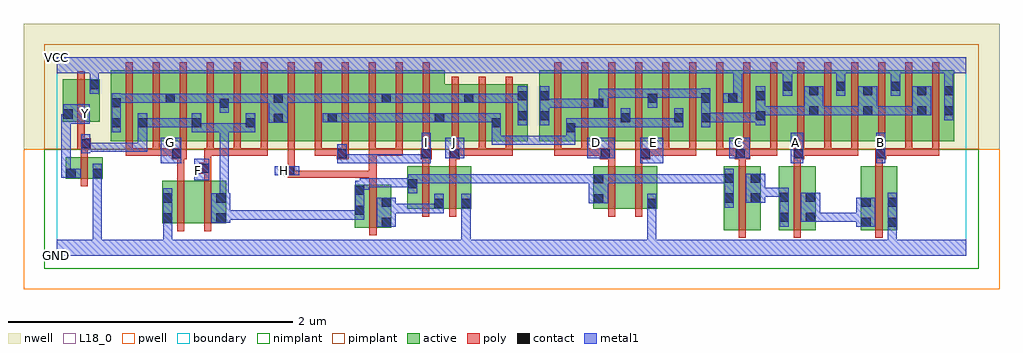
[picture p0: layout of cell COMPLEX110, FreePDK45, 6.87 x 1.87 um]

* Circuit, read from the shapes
.subckt COMPLEX110 A B C D E F G GND H I J VCC Y
M1 GND n1 Y VSUBS nfet w=0.15u l=0.05u
M2 n2 G GND VSUBS nfet w=0.3u l=0.05u
M3 n1 F n2 VSUBS nfet w=0.3u l=0.05u
M4 n3 H n1 VSUBS nfet w=0.3u l=0.05u
M5 n3 I n1 VSUBS nfet w=0.3u l=0.05u
M6 GND J n3 VSUBS nfet w=0.3u l=0.05u
M7 n4 D n1 VSUBS nfet w=0.3u l=0.05u
M8 GND E n4 VSUBS nfet w=0.3u l=0.05u
M9 n5 C n1 VSUBS nfet w=0.45u l=0.05u
M10 n6 A n5 VSUBS nfet w=0.45u l=0.05u
M11 GND B n6 VSUBS nfet w=0.45u l=0.05u
M12 VCC n1 Y n7 pfet w=0.3u l=0.05u
M13 n1 G n8 n7 pfet w=0.5u l=0.05u m=3
M14 n8 F n1 n7 pfet w=0.5u l=0.05u m=3
M15 n9 H n8 n7 pfet w=0.5u l=0.05u
M16 n10 I n9 n7 pfet w=0.5u l=0.05u
M17 n11 I n10 n7 pfet w=0.5u l=0.05u
M18 n8 H n11 n7 pfet w=0.5u l=0.05u
M19 n12 H n8 n7 pfet w=0.5u l=0.05u
M20 n10 I n12 n7 pfet w=0.5u l=0.05u
M21 n8 J n10 n7 pfet w=0.4u l=0.05u m=3
M22 n10 D n13 n7 pfet w=0.5u l=0.05u m=3
M23 n13 E n10 n7 pfet w=0.5u l=0.05u m=3
M24 VCC C n13 n7 pfet w=0.5u l=0.05u m=3
M25 n13 A VCC n7 pfet w=0.5u l=0.05u m=3
M26 VCC B n13 n7 pfet w=0.5u l=0.05u m=3
.ends

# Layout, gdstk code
import gdstk
lib = gdstk.Library(unit=1e-6, precision=1e-09)
def R(c, l, rs):  # rectangles x0, y0, x1, y1
    for r in rs: c.add(gdstk.rectangle(r[:2], r[2:], *l))
def A(c, l, x, y, w, h, nx, ny, dx, dy):  # array of equal rectangles
    R(c, l, [(x+i*dx, y+j*dy, x+i*dx+w, y+j*dy+h) for i in range(nx) for j in range(ny)])
active = (1, 0)
pwell = (2, 0)
nwell = (3, 0)
nimplant = (4, 0)
pimplant = (5, 0)
poly = (9, 0)
contact = (10, 0)
metal1 = (11, 0)
L18_0 = (18, 0)
boundary = (235, 0)

complex110 = lib.new_cell('COMPLEX110')
A(complex110, active, 0.38, 0.807, 0.075, 0.393, 4, 1, 0.38, 0)
A(complex110, active, 0.38, 0.807, 0.26, 0.5, 3, 1, 0.38, 0)
A(complex110, active, 0.565, 0.807, 0.27, 0.5, 3, 1, 0.38, 0)
A(complex110, active, 0.565, 0.807, 0.075, 0.263, 3, 1, 0.38, 0)
A(complex110, active, 1.52, 0.807, 0.225, 0.5, 3, 1, 0.38, 0)
A(complex110, active, 3.395, 0.807, 0.075, 0.393, 3, 1, 0.38, 0)
A(complex110, active, 5.29, 0.807, 0.075, 0.393, 3, 1, 0.38, 0)
R(complex110, active, [(4.695,0.182,4.955,0.632), (5.082,0.182,5.342,0.632), (5.657,0.182,5.917,0.632), (5.842,0.182,5.917,0.632), (2.095,0.2,2.355,0.5), (2.28,0.2,2.355,0.5), (4.695,0.2,4.77,0.632), (4.88,0.2,4.955,0.632), (5.082,0.2,5.157,0.632), (5.267,0.2,5.342,0.632), (5.657,0.2,5.732,0.632), (2.095,0.215,2.17,0.5), (0.742,0.23,0.967,0.53), (0.742,0.23,0.817,0.53), (0.967,0.23,1.192,0.53), (1.117,0.23,1.192,0.53), (2.467,0.332,2.542,0.632), (2.467,0.332,2.727,0.632), (2.652,0.332,2.917,0.632), (2.652,0.332,2.727,0.475), (2.842,0.332,2.917,0.477), (3.775,0.332,4,0.632), (3.775,0.332,3.85,0.632), (4,0.332,4.225,0.632), (4.15,0.332,4.225,0.497), (0.062,0.545,0.137,0.695), (0.062,0.545,0.322,0.695), (0.247,0.545,0.322,0.695), (1.745,0.807,1.975,1.307), (1.9,0.807,1.975,1.07), (2.125,0.807,2.355,1.307), (2.28,0.807,2.355,1.2), (2.505,0.807,2.73,1.307), (2.655,0.807,2.937,1.207), (2.862,0.807,3.13,1.207), (3.055,0.807,3.13,1.07), (3.055,0.807,3.315,1.207), (3.24,0.807,3.315,1.2), (3.395,0.807,3.655,1.307), (3.58,0.807,3.85,1.307), (3.58,0.807,3.655,1.07), (3.775,0.807,4.04,1.307), (3.965,0.807,4.23,1.307), (3.965,0.807,4.04,1.07), (4.155,0.807,4.415,1.307), (4.34,0.807,4.605,1.307), (4.34,0.807,4.415,1.07), (4.53,0.807,4.795,1.307), (4.53,0.807,4.605,1.2), (4.72,0.807,4.795,1.307), (4.72,0.807,4.99,1.307), (4.915,0.807,5.18,1.307), (4.915,0.807,4.99,1.2), (5.105,0.807,5.18,1.305), (5.105,0.807,5.365,1.307), (5.29,0.807,5.555,1.307), (5.48,0.807,5.745,1.307), (5.48,0.807,5.555,1.307), (5.67,0.807,5.94,1.307), (5.865,0.807,6.125,1.307), (5.865,0.807,5.94,1.307), (6.05,0.807,6.315,1.307), (6.24,0.807,6.315,1.305), (2.655,0.817,2.73,1.07), (2.862,0.85,2.937,1.2), (0.04,0.945,0.3,1.245), (0.04,0.945,0.115,1.105), (0.225,0.945,0.3,1.245)])
R(complex110, pwell, [(-0.235,-0.235,6.635,0.75)])
R(complex110, nwell, [(-0.235,0.75,6.635,1.635)])
R(complex110, nimplant, [(-0.09,-0.09,6.49,0.75)])
R(complex110, pimplant, [(-0.09,0.75,6.49,1.49)])
A(complex110, poly, 0.485, 0.707, 0.05, 0.095, 6, 1, 0.19, 0)
A(complex110, poly, 1.055, 0.707, 0.05, 0.05, 3, 1, 0.19, 0)
A(complex110, poly, 1.815, 0.707, 0.05, 0.095, 5, 1, 0.19, 0)
A(complex110, poly, 2.78, 0.707, 0.05, 0.095, 3, 1, 0.19, 0)
A(complex110, poly, 2.78, 0.707, 0.05, 0.05, 3, 1, 0.19, 0)
A(complex110, poly, 3.5, 0.707, 0.05, 0.095, 15, 1, 0.19, 0)
A(complex110, poly, 5.21, 0.707, 0.05, 0.05, 3, 1, 0.19, 0)
A(complex110, poly, 0.485, 0.752, 0.05, 0.61, 12, 1, 0.19, 0)
A(complex110, poly, 2.78, 0.752, 0.05, 0.51, 3, 1, 0.19, 0)
A(complex110, poly, 3.5, 0.752, 0.05, 0.61, 15, 1, 0.19, 0)
R(complex110, poly, [(4.8,0.127,4.85,0.687), (5.187,0.127,5.237,0.687), (5.762,0.127,5.812,0.687), (2.2,0.145,2.25,0.555), (0.847,0.175,0.897,0.585), (1.037,0.175,1.087,0.585), (2.572,0.277,2.622,0.687), (2.762,0.277,2.812,0.687), (3.88,0.277,3.93,0.687), (4.07,0.277,4.12,0.687), (0.167,0.49,0.217,0.75), (2.2,0.505,2.25,0.6), (0.847,0.535,0.897,0.732), (1.037,0.535,1.087,0.63), (1.625,0.55,1.675,0.6), (1.625,0.55,1.675,0.6), (1.625,0.55,1.675,0.6), (1.625,0.55,1.885,0.6), (1.625,0.55,1.675,0.612), (1.835,0.55,1.885,0.6), (1.835,0.55,1.885,0.6), (1.835,0.55,1.885,0.6), (1.835,0.55,2.112,0.6), (2.062,0.55,2.112,0.6), (2.062,0.55,2.112,0.6), (2.062,0.55,2.112,0.6), (2.062,0.55,2.245,0.6), (2.195,0.55,2.25,0.757), (1.6,0.562,1.675,0.637), (1.002,0.58,1.087,0.655), (1.625,0.587,1.675,0.802), (1.037,0.605,1.087,0.757), (2.572,0.637,2.622,0.732), (2.762,0.637,2.812,0.732), (3.88,0.637,3.93,0.732), (4.07,0.637,4.12,0.732), (4.8,0.637,4.85,0.732), (5.187,0.637,5.237,0.732), (5.762,0.637,5.812,0.732), (0.807,0.682,0.915,0.757), (0.847,0.682,0.897,0.732), (0.847,0.682,0.897,0.732), (1.97,0.682,2.055,0.757), (2.562,0.682,2.637,0.757), (2.762,0.682,2.837,0.757), (3.822,0.682,3.93,0.757), (3.88,0.682,3.93,0.732), (3.88,0.682,3.93,0.732), (4.07,0.682,4.12,0.732), (4.07,0.682,4.12,0.732), (4.07,0.682,4.177,0.757), (4.772,0.682,4.88,0.757), (4.8,0.682,4.85,0.732), (4.8,0.682,4.85,0.732), (5.185,0.682,5.26,0.757), (5.762,0.682,5.837,0.757), (0.167,0.7,0.217,0.802), (0.485,0.707,0.535,0.757), (0.485,0.707,0.535,0.757), (0.485,0.707,0.535,0.757), (0.485,0.707,0.725,0.757), (0.675,0.707,0.725,0.757), (0.675,0.707,0.725,0.757), (0.675,0.707,0.725,0.757), (0.675,0.707,0.857,0.757), (1.037,0.707,1.105,0.757), (1.055,0.707,1.105,0.757), (1.055,0.707,1.295,0.757), (1.245,0.707,1.485,0.757), (1.435,0.707,1.485,0.757), (1.435,0.707,1.485,0.757), (1.815,0.707,1.865,0.757), (1.815,0.707,1.865,0.757), (1.815,0.707,1.865,0.757), (1.815,0.707,2.02,0.757), (2.195,0.707,2.245,0.757), (2.195,0.707,2.245,0.757), (2.2,0.707,2.435,0.757), (2.385,0.707,2.435,0.757), (2.385,0.707,2.435,0.757), (2.385,0.707,2.435,0.757), (2.385,0.707,2.435,0.757), (2.385,0.707,2.435,0.757), (2.575,0.707,2.625,0.757), (2.575,0.707,2.625,0.757), (2.78,0.707,2.83,0.757), (2.78,0.707,2.83,0.757), (2.78,0.707,2.83,0.757), (2.78,0.707,3.02,0.757), (2.97,0.707,3.21,0.757), (3.16,0.707,3.21,0.757), (3.16,0.707,3.21,0.757), (3.5,0.707,3.55,0.757), (3.5,0.707,3.55,0.757), (3.5,0.707,3.55,0.757), (3.5,0.707,3.74,0.757), (3.69,0.707,3.74,0.757), (3.69,0.707,3.74,0.757), (3.69,0.707,3.74,0.757), (3.69,0.707,3.872,0.757), (4.127,0.707,4.177,0.757), (4.127,0.707,4.177,0.757), (4.127,0.707,4.31,0.757), (4.26,0.707,4.31,0.757), (4.26,0.707,4.5,0.757), (4.45,0.707,4.5,0.757), (4.45,0.707,4.5,0.757), (4.45,0.707,4.5,0.757), (4.64,0.707,4.69,0.757), (4.64,0.707,4.69,0.757), (4.64,0.707,4.69,0.757), (4.64,0.707,4.822,0.757), (4.83,0.707,5.07,0.757), (5.02,0.707,5.07,0.757), (5.02,0.707,5.07,0.757), (5.02,0.707,5.07,0.757), (5.21,0.707,5.26,0.757), (5.21,0.707,5.26,0.757), (5.21,0.707,5.26,0.757), (5.21,0.707,5.45,0.757), (5.4,0.707,5.64,0.757), (5.59,0.707,5.64,0.757), (5.59,0.707,5.64,0.757), (5.78,0.707,5.83,0.757), (5.78,0.707,5.83,0.757), (5.78,0.707,6.02,0.757), (5.97,0.707,6.02,0.757), (5.97,0.707,6.02,0.757), (5.97,0.707,6.02,0.757), (5.97,0.707,6.21,0.757), (6.16,0.707,6.21,0.757), (6.16,0.707,6.21,0.757), (6.16,0.707,6.21,0.757), (0.145,0.752,0.24,0.827), (0.167,0.752,0.217,0.802), (0.167,0.752,0.217,0.802), (0.145,0.777,0.195,0.94), (0.145,0.89,0.195,1.3)])
A(complex110, contact, 0.57, 0.905, 0.065, 0.065, 3, 1, 0.38, 0)
A(complex110, contact, 5.295, 0.99, 0.065, 0.065, 3, 2, 0.38, 0.14)
A(complex110, contact, 0.765, 1.077, 0.065, 0.065, 3, 1, 0.76, 0)
R(complex110, contact, [(2.285,0.205,2.35,0.27), (5.662,0.205,5.727,0.27), (5.847,0.205,5.912,0.27), (0.747,0.235,0.812,0.3), (1.122,0.235,1.187,0.3), (5.087,0.24,5.152,0.305), (5.272,0.24,5.337,0.305), (2.1,0.29,2.165,0.355), (2.657,0.337,2.722,0.402), (2.847,0.337,2.912,0.402), (4.155,0.337,4.22,0.402), (2.285,0.345,2.35,0.41), (5.662,0.345,5.727,0.41), (5.847,0.345,5.912,0.41), (3.78,0.37,3.845,0.435), (0.747,0.375,0.812,0.44), (1.122,0.375,1.187,0.44), (4.7,0.375,4.765,0.44), (4.885,0.375,4.95,0.44), (5.087,0.38,5.152,0.445), (5.272,0.38,5.337,0.445), (2.1,0.43,2.165,0.495), (2.472,0.475,2.537,0.54), (3.78,0.51,3.845,0.575), (4.7,0.515,4.765,0.58), (4.885,0.515,4.95,0.58), (0.067,0.55,0.132,0.615), (0.252,0.55,0.317,0.615), (1.605,0.567,1.67,0.632), (1.007,0.585,1.072,0.65), (0.812,0.687,0.877,0.752), (1.975,0.687,2.04,0.752), (2.567,0.687,2.632,0.752), (2.767,0.687,2.832,0.752), (3.827,0.687,3.892,0.752), (4.107,0.687,4.172,0.752), (4.777,0.687,4.842,0.752), (5.19,0.687,5.255,0.752), (5.767,0.687,5.832,0.752), (0.17,0.757,0.235,0.822), (3.585,0.87,3.65,0.935), (0.385,0.905,0.45,0.97), (3.06,0.905,3.125,0.97), (1.525,0.937,1.59,1.002), (1.905,0.94,1.97,1.005), (2.66,0.94,2.725,1.005), (3.97,0.94,4.035,1.005), (4.345,0.94,4.41,1.005), (4.535,0.94,4.6,1.005), (3.245,0.955,3.31,1.02), (3.4,0.955,3.465,1.02), (4.92,0.955,4.985,1.02), (0.045,0.967,0.11,1.032), (6.245,0.99,6.31,1.055), (1.145,1.042,1.21,1.107), (3.78,1.042,3.845,1.107), (0.385,1.045,0.45,1.11), (2.867,1.077,2.932,1.142), (4.16,1.077,4.225,1.142), (4.535,1.08,4.6,1.145), (4.725,1.08,4.79,1.145), (3.245,1.095,3.31,1.16), (3.4,1.095,3.465,1.16), (4.92,1.095,4.985,1.16), (6.245,1.13,6.31,1.195), (5.11,1.162,5.175,1.227), (5.485,1.162,5.55,1.227), (5.87,1.162,5.935,1.227), (0.23,1.175,0.295,1.24)])
A(complex110, metal1, 0.57, 0.87, 0.065, 0.135, 3, 1, 0.38, 0)
A(complex110, metal1, 5.26, 0.99, 0.135, 0.205, 3, 1, 0.38, 0)
A(complex110, metal1, 0.592, 1.077, 0.203, 0.065, 3, 1, 0.76, 0)
R(complex110, metal1, [(0,0,6.4,0.115), (0.252,0.05,0.317,0.115), (0.252,0.05,0.317,0.115), (0.252,0.05,0.317,0.115), (0.252,0.05,0.317,0.115), (0.252,0.05,0.317,0.58), (0.747,0.05,0.812,0.115), (0.747,0.05,0.812,0.115), (0.747,0.05,0.812,0.265), (2.847,0.05,2.912,0.115), (2.847,0.05,2.912,0.115), (2.847,0.05,2.912,0.367), (4.155,0.05,4.22,0.115), (4.155,0.05,4.22,0.115), (4.155,0.05,4.22,0.367), (5.847,0.05,5.912,0.235), (5.847,0.17,5.912,0.445), (0.747,0.2,0.812,0.475), (2.25,0.205,2.385,0.41), (5.087,0.205,5.152,0.48), (5.627,0.205,5.762,0.41), (1.087,0.235,1.222,0.44), (5.237,0.24,5.372,0.445), (5.307,0.24,5.372,0.305), (5.307,0.24,5.372,0.305), (5.307,0.24,5.532,0.305), (5.467,0.24,5.532,0.305), (5.467,0.24,5.532,0.305), (5.467,0.24,5.532,0.305), (5.467,0.24,5.692,0.305), (1.157,0.255,1.222,0.32), (1.157,0.255,1.222,0.32), (1.157,0.255,1.36,0.32), (1.295,0.255,1.36,0.32), (1.295,0.255,1.36,0.32), (1.295,0.255,1.36,0.32), (1.295,0.255,1.625,0.32), (1.56,0.255,1.625,0.32), (1.56,0.255,1.625,0.32), (1.56,0.255,1.625,0.32), (1.56,0.255,1.762,0.32), (1.697,0.255,1.762,0.32), (1.697,0.255,1.762,0.32), (1.697,0.255,1.762,0.32), (1.697,0.255,1.9,0.32), (1.835,0.255,1.9,0.32), (1.835,0.255,1.9,0.32), (1.835,0.255,1.9,0.32), (1.835,0.255,2.165,0.32), (2.1,0.255,2.165,0.53), (2.32,0.302,2.385,0.367), (2.32,0.302,2.385,0.367), (2.32,0.302,2.552,0.367), (2.487,0.302,2.552,0.367), (2.487,0.302,2.552,0.367), (2.487,0.302,2.552,0.367), (2.487,0.302,2.722,0.367), (2.657,0.302,2.722,0.437), (2.847,0.302,2.912,0.437), (4.155,0.302,4.22,0.437), (4.7,0.34,4.765,0.615), (3.745,0.37,3.88,0.575), (1.145,0.375,1.21,0.44), (1.145,0.375,1.21,0.44), (1.145,0.375,1.21,0.935), (4.85,0.375,4.985,0.58), (4.92,0.415,4.985,0.48), (4.92,0.415,4.985,0.48), (4.92,0.415,5.152,0.48), (2.472,0.44,2.537,0.575), (2.1,0.465,2.197,0.53), (2.132,0.465,2.197,0.547), (2.132,0.482,2.385,0.547), (2.32,0.482,2.385,0.547), (2.32,0.482,2.385,0.547), (2.32,0.482,2.385,0.547), (2.32,0.482,2.537,0.547), (2.472,0.51,2.537,0.575), (2.472,0.51,2.537,0.575), (2.472,0.51,2.76,0.575), (2.695,0.51,2.76,0.575), (2.695,0.51,2.76,0.575), (2.695,0.51,2.76,0.575), (2.695,0.51,2.937,0.575), (2.872,0.51,2.937,0.575), (2.872,0.51,2.937,0.575), (2.872,0.51,2.937,0.575), (2.872,0.51,3.172,0.575), (3.107,0.51,3.172,0.575), (3.107,0.51,3.327,0.575), (3.262,0.51,3.327,0.575), (3.262,0.51,3.327,0.575), (3.262,0.51,3.327,0.575), (3.262,0.51,3.512,0.575), (3.447,0.51,3.512,0.575), (3.447,0.51,3.512,0.575), (3.447,0.51,3.512,0.575), (3.447,0.51,3.65,0.575), (3.585,0.51,3.65,0.575), (3.585,0.51,3.65,0.575), (3.585,0.51,3.65,0.575), (3.585,0.51,3.81,0.575), (3.815,0.51,3.88,0.575), (3.815,0.51,3.88,0.575), (3.815,0.51,4.035,0.575), (3.97,0.51,4.035,0.575), (3.97,0.51,4.035,0.575), (3.97,0.51,4.035,0.575), (3.97,0.51,4.272,0.575), (4.207,0.51,4.272,0.575), (4.207,0.51,4.272,0.575), (4.207,0.51,4.272,0.575), (4.207,0.51,4.462,0.575), (4.397,0.51,4.462,0.575), (4.397,0.51,4.462,0.575), (4.397,0.51,4.462,0.575), (4.397,0.51,4.6,0.575), (4.535,0.51,4.6,0.575), (4.535,0.51,4.6,0.575), (4.535,0.51,4.6,0.575), (4.535,0.51,4.765,0.575), (0.252,0.515,0.317,0.65), (0.967,0.532,1.072,0.685), (0.032,0.55,0.097,0.615), (0.032,0.55,0.097,0.615), (0.032,0.55,0.097,0.615), (0.032,0.55,0.097,0.615), (0.032,0.55,0.167,0.615), (0.032,0.55,0.097,0.997), (1.532,0.567,1.705,0.632), (0.732,0.652,0.877,0.832), (1.975,0.652,2.04,0.787), (1.975,0.652,2.177,0.717), (2.112,0.652,2.177,0.717), (2.112,0.652,2.177,0.717), (2.112,0.652,2.177,0.717), (2.112,0.652,2.177,0.717), (2.112,0.652,2.177,0.717), (2.112,0.652,2.335,0.717), (2.27,0.652,2.335,0.717), (2.27,0.652,2.335,0.717), (2.27,0.652,2.335,0.717), (2.27,0.652,2.552,0.717), (2.487,0.652,2.552,0.717), (2.487,0.652,2.632,0.717), (2.567,0.652,2.632,0.867), (4.107,0.652,4.267,0.832), (5.167,0.652,5.255,0.867), (5.767,0.652,5.832,0.867), (2.732,0.687,2.867,0.832), (3.732,0.687,3.927,0.832), (4.732,0.687,4.877,0.832), (0.17,0.722,0.235,0.857), (0.17,0.732,0.235,0.797), (0.17,0.732,0.235,0.797), (0.17,0.732,0.497,0.797), (0.432,0.732,0.497,0.797), (0.432,0.732,0.497,0.797), (0.432,0.732,0.497,0.797), (0.432,0.732,0.635,0.797), (0.57,0.732,0.635,0.797), (0.57,0.732,0.635,0.935), (3.06,0.782,3.31,0.847), (3.06,0.782,3.125,0.932), (3.245,0.782,3.31,0.847), (3.245,0.782,3.512,0.847), (3.447,0.782,3.512,0.847), (3.447,0.782,3.512,0.847), (3.447,0.782,3.512,0.847), (3.447,0.782,3.65,0.847), (3.585,0.782,3.65,0.97), (3.06,0.867,3.125,0.932), (3.06,0.867,3.125,1.005), (0.385,0.87,0.45,1.145), (0.95,0.87,1.015,0.935), (0.95,0.87,1.015,0.935), (0.95,0.87,1.21,0.935), (1.145,0.87,1.21,0.935), (1.145,0.87,1.21,0.935), (1.145,0.87,1.21,0.935), (1.145,0.87,1.21,0.935), (1.145,0.87,1.21,0.935), (1.145,0.87,1.395,0.935), (0.57,0.905,0.635,0.97), (0.57,0.905,0.635,0.97), (0.57,0.905,0.86,0.97), (0.795,0.905,0.86,0.97), (0.795,0.905,0.86,0.97), (0.795,0.905,0.86,0.97), (0.795,0.905,1.015,0.97), (3.585,0.905,3.65,0.97), (3.585,0.905,3.65,0.97), (3.585,0.905,3.897,0.97), (3.832,0.905,3.897,0.97), (3.832,0.905,3.897,0.97), (3.832,0.905,3.897,0.97), (3.832,0.905,4.035,0.97), (3.97,0.905,4.035,0.97), (3.97,0.905,4.035,0.97), (3.97,0.905,4.035,1.04), (3.97,0.905,4.272,0.97), (4.207,0.905,4.272,0.97), (4.207,0.905,4.272,0.97), (4.207,0.905,4.272,0.97), (4.207,0.905,4.41,0.97), (4.345,0.905,4.41,1.04), (4.535,0.905,4.6,1.18), (3.245,0.92,3.31,1.195), (3.4,0.92,3.465,1.195), (4.92,0.92,4.985,1.195), (0.032,0.932,0.11,0.997), (0.045,0.932,0.11,0.997), (0.045,0.932,0.232,1.067), (1.49,0.937,1.625,1.142), (1.87,0.94,2.005,1.005), (1.94,0.94,2.005,1.005), (1.94,0.94,2.005,1.005), (1.94,0.94,2.177,1.005), (2.112,0.94,2.177,1.005), (2.112,0.94,2.177,1.005), (2.112,0.94,2.177,1.005), (2.112,0.94,2.385,1.005), (2.32,0.94,2.385,1.005), (2.32,0.94,2.385,1.005), (2.32,0.94,2.385,1.005), (2.32,0.94,2.522,1.005), (2.457,0.94,2.522,1.005), (2.457,0.94,2.522,1.005), (2.457,0.94,2.522,1.005), (2.457,0.94,2.69,1.005), (2.625,0.94,2.76,1.005), (2.695,0.94,2.76,1.005), (2.695,0.94,2.76,1.005), (2.695,0.94,2.987,1.005), (2.922,0.94,2.987,1.005), (2.922,0.94,2.987,1.005), (2.922,0.94,2.987,1.005), (2.922,0.94,3.125,1.005), (4.535,0.942,4.6,1.007), (4.535,0.942,4.6,1.007), (4.535,0.942,4.777,1.007), (4.712,0.942,4.777,1.007), (4.712,0.942,4.777,1.007), (4.712,0.942,4.777,1.007), (4.712,0.942,4.985,1.007), (6.245,0.955,6.31,1.23), (4.92,0.99,4.985,1.055), (4.92,0.99,4.985,1.055), (4.92,0.99,5.122,1.055), (5.057,0.99,5.122,1.055), (5.057,0.99,5.122,1.055), (5.057,0.99,5.122,1.055), (5.057,0.99,5.325,1.055), (5.33,0.99,5.395,1.055), (5.33,0.99,5.395,1.055), (5.33,0.99,5.555,1.055), (5.49,0.99,5.555,1.055), (5.49,0.99,5.555,1.055), (5.49,0.99,5.555,1.055), (5.49,0.99,5.705,1.055), (5.71,0.99,5.912,1.055), (5.847,0.99,5.912,1.055), (5.847,0.99,5.912,1.055), (5.847,0.99,5.912,1.055), (5.847,0.99,6.085,1.055), (6.02,0.99,6.085,1.055), (6.02,0.99,6.085,1.055), (1.145,1.007,1.21,1.142), (3.4,1.042,3.465,1.107), (3.4,1.042,3.465,1.107), (3.4,1.042,3.65,1.107), (3.585,1.042,3.65,1.107), (3.585,1.042,3.65,1.107), (3.585,1.042,3.65,1.107), (3.585,1.042,3.81,1.107), (3.745,1.042,3.88,1.107), (3.815,1.042,3.88,1.107), (3.815,1.042,3.88,1.177), (4.16,1.042,4.225,1.177), (0.385,1.077,0.45,1.142), (0.385,1.077,0.45,1.142), (0.385,1.077,0.657,1.142), (0.592,1.077,0.657,1.142), (0.592,1.077,0.657,1.142), (0.592,1.077,0.657,1.142), (0.73,1.077,0.865,1.142), (0.8,1.077,0.865,1.142), (0.8,1.077,0.865,1.142), (0.8,1.077,1.015,1.142), (0.95,1.077,1.015,1.142), (0.95,1.077,1.015,1.142), (0.95,1.077,1.015,1.142), (0.95,1.077,1.21,1.142), (1.145,1.077,1.21,1.142), (1.145,1.077,1.21,1.142), (1.145,1.077,1.417,1.142), (1.352,1.077,1.417,1.142), (1.352,1.077,1.417,1.142), (1.352,1.077,1.417,1.142), (1.56,1.077,1.625,1.142), (1.56,1.077,1.625,1.142), (1.56,1.077,1.762,1.142), (1.697,1.077,1.762,1.142), (1.697,1.077,1.762,1.142), (1.697,1.077,1.762,1.142), (1.697,1.077,2.027,1.142), (1.962,1.077,2.027,1.142), (1.962,1.077,2.027,1.142), (1.962,1.077,2.027,1.142), (1.962,1.077,2.177,1.142), (2.112,1.077,2.177,1.142), (2.112,1.077,2.177,1.142), (2.112,1.077,2.177,1.142), (2.25,1.077,2.385,1.142), (2.32,1.077,2.385,1.142), (2.32,1.077,2.385,1.142), (2.32,1.077,2.552,1.142), (2.487,1.077,2.552,1.142), (2.487,1.077,2.552,1.142), (2.487,1.077,2.552,1.142), (2.487,1.077,2.76,1.142), (2.695,1.077,2.76,1.142), (2.695,1.077,2.76,1.142), (2.695,1.077,2.76,1.142), (2.695,1.077,2.897,1.142), (2.832,1.077,2.967,1.142), (2.902,1.077,2.967,1.142), (2.902,1.077,2.967,1.142), (2.902,1.077,3.172,1.142), (3.107,1.077,3.172,1.142), (3.107,1.077,3.31,1.142), (3.245,1.077,3.31,1.142), (3.245,1.077,3.31,1.142), (4.69,1.08,4.825,1.145), (4.76,1.08,4.825,1.35), (3.815,1.112,4.035,1.177), (3.97,1.112,4.035,1.177), (3.97,1.112,4.035,1.177), (3.97,1.112,4.035,1.177), (3.97,1.112,4.225,1.177), (4.16,1.112,4.225,1.177), (4.16,1.112,4.225,1.177), (4.16,1.112,4.462,1.177), (4.397,1.112,4.462,1.177), (4.397,1.112,4.462,1.177), (4.397,1.112,4.462,1.177), (4.397,1.112,4.6,1.177), (5.11,1.127,5.175,1.262), (5.485,1.127,5.55,1.262), (5.87,1.127,5.935,1.262), (0.23,1.14,0.295,1.275), (6.245,1.165,6.31,1.35), (5.11,1.197,5.175,1.35), (5.485,1.197,5.55,1.35), (5.87,1.197,5.935,1.35), (0.23,1.21,0.295,1.275), (0.23,1.21,0.295,1.275), (0.23,1.21,0.295,1.35), (0,1.285,6.4,1.4)])
R(complex110, L18_0, [(0,0,6.4,0.115), (0.252,0.05,0.317,0.115), (0.252,0.05,0.317,0.115), (0.252,0.05,0.317,0.115), (0.252,0.05,0.317,0.115), (0.252,0.05,0.317,0.58), (0.747,0.05,0.812,0.115), (0.747,0.05,0.812,0.115), (0.747,0.05,0.812,0.265), (2.847,0.05,2.912,0.115), (2.847,0.05,2.912,0.115), (2.847,0.05,2.912,0.367), (4.155,0.05,4.22,0.115), (4.155,0.05,4.22,0.115), (4.155,0.05,4.22,0.367), (5.847,0.05,5.912,0.235), (5.847,0.17,5.912,0.445), (0.747,0.2,0.812,0.475), (2.847,0.302,2.912,0.437), (4.155,0.302,4.22,0.437), (0.252,0.515,0.317,0.65), (0.967,0.532,1.072,0.685), (0.032,0.55,0.167,0.615), (0.032,0.55,0.097,0.615), (0.032,0.55,0.097,0.615), (0.032,0.55,0.097,0.615), (0.032,0.55,0.097,0.615), (0.032,0.55,0.097,0.997), (0.967,0.567,1.032,0.632), (1.532,0.567,1.705,0.632), (1.567,0.567,1.632,0.632), (0.732,0.652,0.877,0.832), (1.975,0.652,2.04,0.787), (1.975,0.652,2.177,0.717), (2.112,0.652,2.177,0.717), (2.112,0.652,2.177,0.717), (2.112,0.652,2.177,0.717), (2.112,0.652,2.177,0.717), (2.112,0.652,2.177,0.717), (2.112,0.652,2.335,0.717), (2.27,0.652,2.335,0.717), (2.27,0.652,2.335,0.717), (2.27,0.652,2.335,0.717), (2.27,0.652,2.552,0.717), (2.487,0.652,2.552,0.717), (2.487,0.652,2.632,0.717), (2.567,0.652,2.632,0.867), (4.107,0.652,4.267,0.832), (5.167,0.652,5.255,0.867), (5.767,0.652,5.832,0.867), (2.732,0.687,2.867,0.832), (3.732,0.687,3.927,0.832), (4.732,0.687,4.877,0.832), (0.767,0.767,0.832,0.832), (2.567,0.767,2.632,0.832), (2.767,0.767,2.832,0.832), (3.767,0.767,3.832,0.832), (4.167,0.767,4.232,0.832), (4.767,0.767,4.832,0.832), (5.167,0.767,5.232,0.832), (5.767,0.767,5.832,0.832), (0.032,0.932,0.11,0.997), (0.045,0.932,0.11,0.997), (0.045,0.932,0.232,1.067), (6.245,0.955,6.31,1.23), (0.167,0.967,0.232,1.032), (4.69,1.08,4.825,1.145), (4.76,1.08,4.825,1.35), (5.11,1.127,5.175,1.262), (5.485,1.127,5.55,1.262), (5.87,1.127,5.935,1.262), (0.23,1.14,0.295,1.275), (6.245,1.165,6.31,1.35), (5.11,1.197,5.175,1.35), (5.485,1.197,5.55,1.35), (5.87,1.197,5.935,1.35), (0.23,1.21,0.295,1.275), (0.23,1.21,0.295,1.275), (0.23,1.21,0.295,1.35), (0,1.285,6.4,1.4)])
R(complex110, boundary, [(0,0,6.4,1.4)])
complex110.add(gdstk.Label('A', (5.2,0.8), layer=11, texttype=0))
complex110.add(gdstk.Label('B', (5.8,0.8), layer=11, texttype=0))
complex110.add(gdstk.Label('C', (4.8,0.8), layer=11, texttype=0))
complex110.add(gdstk.Label('D', (3.8,0.8), layer=11, texttype=0))
complex110.add(gdstk.Label('E', (4.2,0.8), layer=11, texttype=0))
complex110.add(gdstk.Label('F', (1,0.6), layer=11, texttype=0))
complex110.add(gdstk.Label('G', (0.8,0.8), layer=11, texttype=0))
complex110.add(gdstk.Label('H', (1.6,0.6), layer=11, texttype=0))
complex110.add(gdstk.Label('I', (2.6,0.8), layer=11, texttype=0))
complex110.add(gdstk.Label('J', (2.8,0.8), layer=11, texttype=0))
complex110.add(gdstk.Label('Y', (0.2,1), layer=11, texttype=0))
complex110.add(gdstk.Label('VCC', (0,1.4), layer=11, texttype=0))
complex110.add(gdstk.Label('GND', (0,0), layer=11, texttype=0))

lib.write_gds('COMPLEX110.gds')
